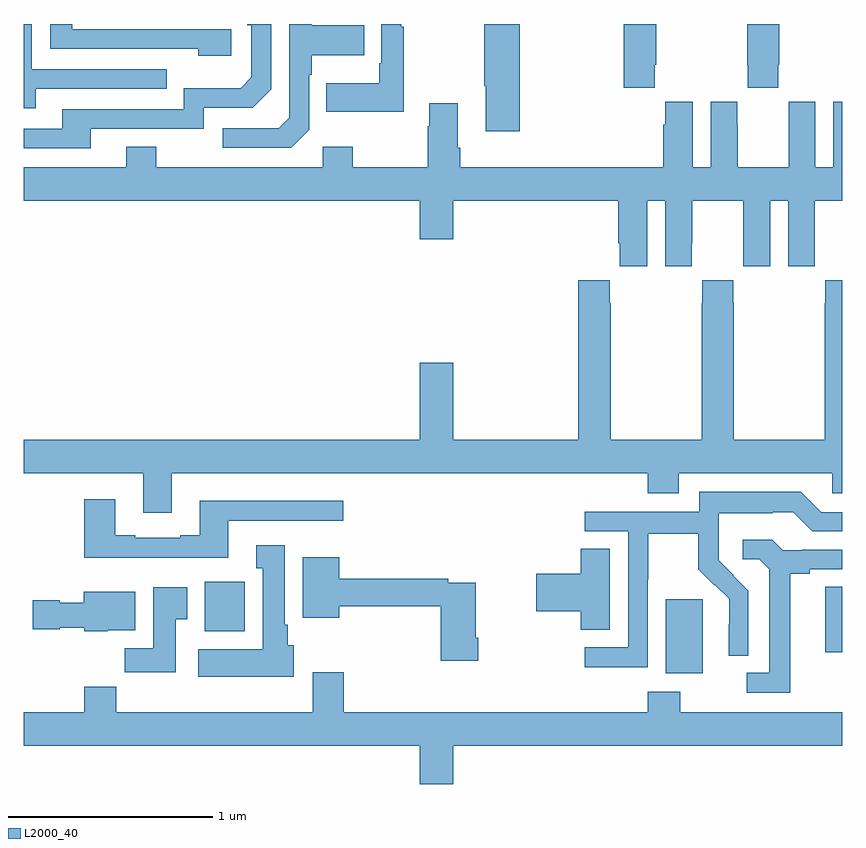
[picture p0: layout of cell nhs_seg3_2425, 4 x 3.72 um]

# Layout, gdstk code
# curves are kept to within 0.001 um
import gdstk
lib = gdstk.Library(unit=1e-6, precision=1e-09)
def R(c, l, rs):  # rectangles x0, y0, x1, y1
    for r in rs: c.add(gdstk.rectangle(r[:2], r[2:], *l))
def P(c, l, *ps):  # polygons
    for p in ps: c.add(gdstk.Polygon(p, *l))
L2000_40 = (2000, 40)

nhs_seg3_2425 = lib.new_cell('nhs_seg3_2425')
R(nhs_seg3_2425, L2000_40, [(238.139,745.226,238.318,745.587), (238.919,745.329,239,745.649), (235.883,745.43,236.08,745.672)])
P(nhs_seg3_2425, L2000_40, [(238.689,748.201),(238.692,748.201),(238.692,748.4),(238.537,748.4),(238.537,748.201),(238.539,748.201),(238.539,748.089),(238.689,748.089)],
  [(235.057,748.083),(235.697,748.083),(235.697,748.179),(235.038,748.179),(235.038,748.4),(235,748.4),(235,747.989),(235.057,747.989)],
  [(237.425,748.4),(237.25,748.4),(237.25,748.099),(237.257,748.099),(237.257,747.876),(237.425,747.876)],
  [(236.394,747.882),(236.394,748.151),(236.407,748.151),(236.407,748.247),(236.663,748.247),(236.663,748.395),(236.407,748.395),(236.407,748.4),(236.298,748.4),(236.298,747.942),(236.247,747.891),(235.971,747.891),(235.971,747.795),(236.307,747.795)],
  [(238.085,748.201),(238.092,748.201),(238.092,748.4),(237.932,748.4),(237.932,748.089),(238.085,748.089)],
  [(235.327,747.888),(235.878,747.888),(235.878,747.99),(236.118,747.99),(236.208,748.08),(236.208,748.4),(236.092,748.4),(236.092,748.394),(236.112,748.394),(236.112,748.14),(236.059,748.087),(235.782,748.087),(235.782,747.984),(235.187,747.984),(235.187,747.888),(235,747.888),(235,747.792),(235.327,747.792)],
  [(236.857,748.387),(236.845,748.387),(236.845,748.4),(236.748,748.4),(236.748,748.207),(236.736,748.207),(236.736,748.111),(236.479,748.111),(236.479,747.971),(236.857,747.971)],
  [(236.014,748.374),(235.237,748.374),(235.237,748.4),(235.128,748.4),(235.128,748.278),(235.853,748.278),(235.853,748.244),(236.014,748.244)],
  [(236.46,747.799),(236.46,747.7),(235.647,747.7),(235.647,747.799),(235.499,747.799),(235.499,747.7),(235,747.7),(235,747.536),(236.936,747.536),(236.936,747.348),(237.1,747.348),(237.1,747.536),(237.905,747.536),(237.905,747.328),(237.914,747.328),(237.914,747.216),(238.048,747.216),(238.048,747.536),(238.136,747.536),(238.136,747.216),(238.266,747.216),(238.266,747.328),(238.267,747.328),(238.267,747.536),(238.517,747.536),(238.517,747.328),(238.518,747.328),(238.518,747.216),(238.648,747.216),(238.648,747.536),(238.736,747.536),(238.736,747.216),(238.866,747.216),(238.866,747.328),(238.867,747.328),(238.867,747.536),(239,747.536),(239,748.021),(238.958,748.021),(238.958,747.7),(238.87,747.7),(238.87,748.021),(238.74,748.021),(238.74,747.908),(238.739,747.908),(238.739,747.7),(238.489,747.7),(238.489,747.908),(238.488,747.908),(238.488,748.021),(238.358,748.021),(238.358,747.7),(238.27,747.7),(238.27,748.021),(238.136,748.021),(238.136,747.908),(238.127,747.908),(238.127,747.7),(237.134,747.7),(237.134,747.796),(237.121,747.796),(237.121,748.012),(236.981,748.012),(236.981,747.899),(236.974,747.899),(236.974,747.7),(236.607,747.7),(236.607,747.799)],
  [(238.953,746.106),(239,746.106),(239,747.148),(238.917,747.148),(238.917,747.035),(238.915,747.035),(238.915,746.368),(238.47,746.368),(238.47,747.035),(238.467,747.035),(238.467,747.148),(238.317,747.148),(238.317,747.035),(238.315,747.035),(238.315,746.368),(237.87,746.368),(237.87,747.035),(237.863,747.035),(237.863,747.148),(237.71,747.148),(237.71,746.368),(237.1,746.368),(237.1,746.743),(236.936,746.743),(236.936,746.368),(235,746.368),(235,746.204),(235.583,746.204),(235.583,746.01),(235.723,746.01),(235.723,746.204),(238.049,746.204),(238.049,746.105),(238.201,746.105),(238.201,746.204),(238.953,746.204)],
  [(238.05,745.684),(238.053,745.684),(238.053,745.908),(238.297,745.908),(238.297,745.733),(238.374,745.656),(238.377,745.659),(238.448,745.589),(238.448,745.466),(238.446,745.466),(238.446,745.312),(238.542,745.312),(238.542,745.63),(238.396,745.778),(238.396,745.875),(238.398,745.875),(238.398,746.009),(238.661,746.009),(238.661,746.013),(238.761,746.013),(238.854,745.92),(239,745.92),(239,746.013),(238.899,746.013),(238.799,746.113),(238.302,746.113),(238.302,746.016),(237.741,746.016),(237.741,745.92),(237.954,745.92),(237.954,745.353),(237.741,745.353),(237.741,745.255),(238.05,745.255)],
  [(235.999,745.971),(236.56,745.971),(236.56,746.068),(235.859,746.068),(235.859,745.9),(235.763,745.9),(235.763,745.887),(235.543,745.887),(235.543,745.9),(235.447,745.9),(235.447,746.077),(235.295,746.077),(235.295,745.79),(235.999,745.79)],
  [(238.747,745.712),(238.843,745.712),(238.843,745.734),(239,745.734),(239,745.83),(238.804,745.83),(238.804,745.827),(238.71,745.827),(238.658,745.879),(238.515,745.879),(238.515,745.782),(238.596,745.782),(238.643,745.735),(238.643,745.227),(238.533,745.227),(238.533,745.131),(238.747,745.131)],
  [(236.32,745.362),(236.29,745.362),(236.29,745.462),(236.275,745.462),(236.275,745.852),(236.135,745.852),(236.135,745.739),(236.168,745.739),(236.168,745.342),(235.851,745.342),(235.851,745.208),(236.32,745.208)],
  [(237.865,745.835),(237.722,745.835),(237.722,745.712),(237.504,745.712),(237.504,745.529),(237.722,745.529),(237.722,745.438),(237.865,745.438)],
  [(237.221,745.399),(237.208,745.399),(237.208,745.668),(237.074,745.668),(237.074,745.688),(236.542,745.688),(236.542,745.792),(236.363,745.792),(236.363,745.496),(236.542,745.496),(236.542,745.552),(237.038,745.552),(237.038,745.287),(237.221,745.287)],
  [(235.741,745.489),(235.798,745.489),(235.798,745.645),(235.631,745.645),(235.631,745.348),(235.492,745.348),(235.492,745.23),(235.741,745.23)],
  [(235.41,745.436),(235.543,745.436),(235.543,745.624),(235.292,745.624),(235.292,745.57),(235.176,745.57),(235.176,745.583),(235.044,745.583),(235.044,745.441),(235.176,745.441),(235.176,745.448),(235.296,745.448),(235.296,745.43),(235.41,745.43)],
  [(237.1,744.872),(239,744.872),(239,745.036),(238.209,745.036),(238.209,745.135),(238.049,745.135),(238.049,745.036),(236.564,745.036),(236.564,745.231),(236.411,745.231),(236.411,745.036),(235.451,745.036),(235.451,745.16),(235.295,745.16),(235.295,745.036),(235,745.036),(235,744.872),(236.936,744.872),(236.936,744.684),(237.1,744.684)])

lib.write_gds('nhs_seg3_2425.gds')
